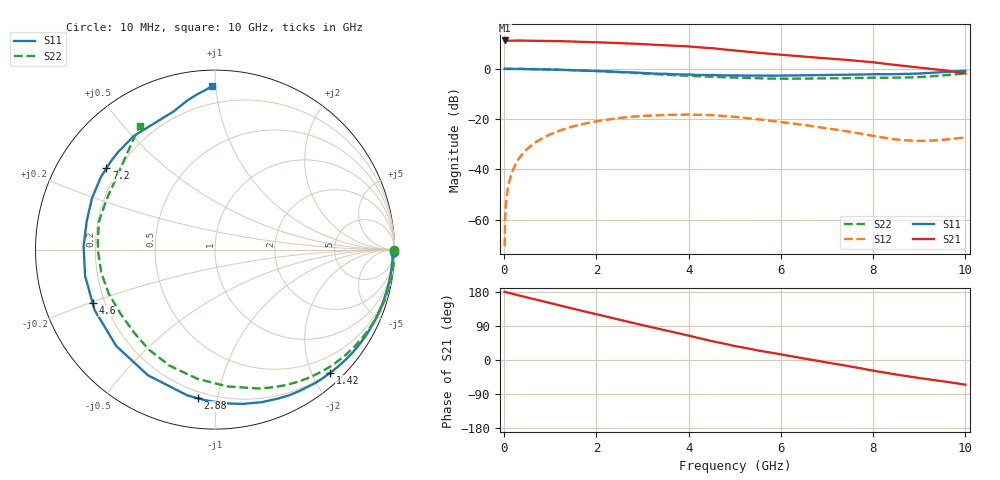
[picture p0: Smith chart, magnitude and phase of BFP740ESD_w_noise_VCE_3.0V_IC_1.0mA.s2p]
! Infineon Technologies  Discrete & RF Semiconductors
! BFP740ESD
! VCE =  3.0 V,  IC =  1.0 mA
! Common Emitter S-Parameters:  Jan 2016
# GHz  S  MA  R  50
!  f  S11  S21  S12  S22
! GHz  MAG  ANG  MAG  ANG  MAG  ANG  MAG  ANG
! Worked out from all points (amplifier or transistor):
!   233 points, 10 MHz to 10 GHz, reference 50 ohm
!   highest |S21| = 11.2 dB at 10 MHz (marker M1)
!   |S21| within 3 dB of that: start of sweep to 4.453 GHz
!   unconditionally stable (mu >= 1): 7.343 GHz to 9.687 GHz
!   at 200 MHz: K = 0.02, MSG = 25.5 dB, |S12| = -39.8 dB
!   at 1.74 GHz: K = 0.15, MSG = 16.2 dB, |S12| = -21.8 dB
!   at 10 GHz: K = 0.52, MSG = 12.7 dB, |S12| = -27.3 dB
!   lowest NFmin = 0.56 dB at 450 MHz
!   S11 on the Smith chart (normalised r, x): 10 MHz: open; 1.42 GHz: 0.20, -2.30; 2.88 GHz: 0.16, -0.88; 4.6 GHz: 0.15, -0.21; 7.2 GHz: 0.15, +0.33; 10 GHz: 0.09, +0.98
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0.01  0.997 -0.9  3.646 179.7  0.0003 -104.6  0.9993 0.0
0.015  0.9935 -0.9  3.607 179.7  0.0004 87.1  0.9995 -0.3
0.02  0.99 -0.8  3.568 179.7  0.001 83.6  0.9998 -0.5
0.025  0.9896 -1.0  3.571 179.5  0.0013 85.4  0.9997 -0.6
0.065  0.9884 -2.2  3.592 178.0  0.0034 88.8  0.9993 -1.6
0.145  0.9899 -4.7  3.613 175.8  0.0074 86.2  0.9989 -3.5
0.28  0.9875 -9.1  3.616 171.6  0.0144 82.6  0.9969 -6.7
0.7  0.9758 -22.9  3.605 159.0  0.0354 71.7  0.9851 -16.8
1.42  0.9399 -46.8  3.488 137.5  0.0686 52.8  0.9477 -34.3
1.68  0.9242 -55.5  3.437 129.9  0.0788 46.1  0.9296 -40.5
2.32  0.8783 -77.0  3.289 111.5  0.1005 30.1  0.8768 -55.8
2.88  0.8334 -96.7  3.131 95.4  0.1137 16.0  0.8212 -69.7
3.4  0.7942 -114.6  2.956 80.9  0.1199 3.5  0.7712 -82.4
4  0.7689 -135.7  2.779 64.2  0.1233 -10.2  0.7263 -97.8
4.6  0.7441 -156.3  2.508 47.4  0.1183 -23.9  0.6868 -113.7
5.1  0.7342 -171.1  2.261 34.7  0.1087 -34.0  0.6617 -125.6
6  0.7322 167.4  1.901 14.6  0.0875 -47.8  0.636 -146.0
6.8  0.7465 151.4  1.657 -2.2  0.0698 -54.4  0.6414 -164.1
7.2  0.7555 143.2  1.553 -10.6  0.0616 -56.1  0.6461 -173.5
8  0.7782 125.5  1.343 -28.3  0.0465 -55.2  0.6653 166.5
8.4  0.7787 117.2  1.215 -36.3  0.0404 -49.6  0.6643 156.7
10  0.9099 91.0  0.808 -65.4  0.0434 -21.0  0.8075 121.2
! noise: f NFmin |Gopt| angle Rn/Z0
0.45  0.56  0.79  8  0.39
0.9  0.61  0.78  20  0.38
1.9  0.75  0.68  46  0.32
2.4  0.9  0.65  62  0.33
5.5  1.73  0.49  162  0.1
